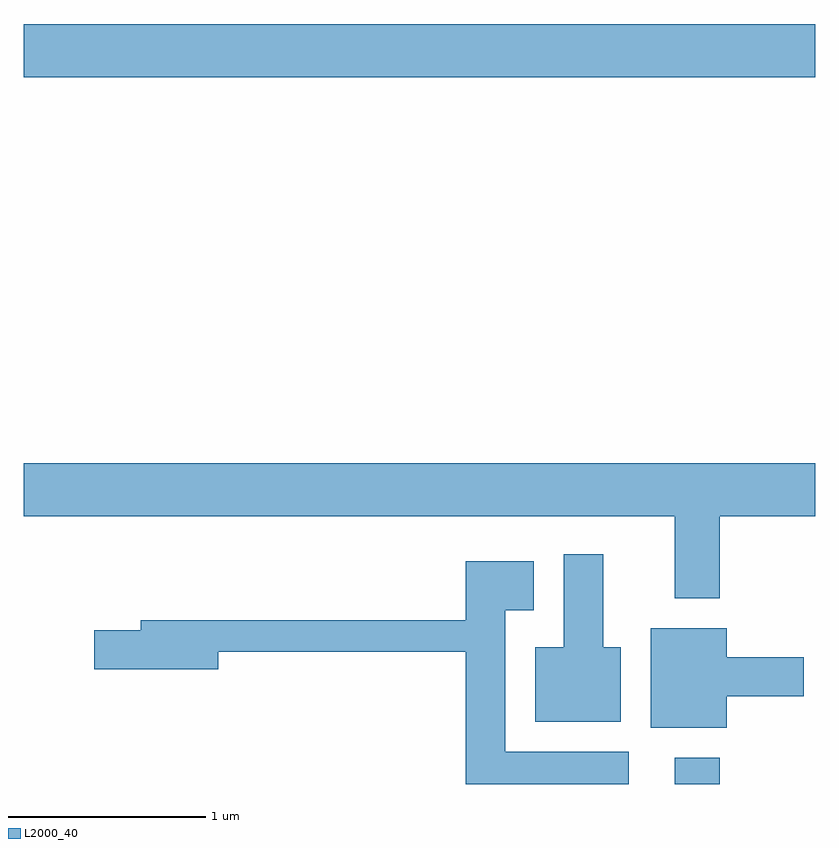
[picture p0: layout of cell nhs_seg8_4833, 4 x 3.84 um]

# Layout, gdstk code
import gdstk
lib = gdstk.Library(unit=1e-6, precision=1e-09)
def R(c, l, rs):  # rectangles x0, y0, x1, y1
    for r in rs: c.add(gdstk.rectangle(r[:2], r[2:], *l))
def P(c, l, *ps):  # polygons
    for p in ps: c.add(gdstk.Polygon(p, *l))
L2000_40 = (2000, 40)

nhs_seg8_4833 = lib.new_cell('nhs_seg8_4833')
R(nhs_seg8_4833, L2000_40, [(332.901,1888.342,333.129,1888.474), (329.611,1891.916,333.611,1892.184)])
P(nhs_seg8_4833, L2000_40, [(333.129,1889.696),(333.611,1889.696),(333.611,1889.964),(329.611,1889.964),(329.611,1889.696),(332.901,1889.696),(332.901,1889.281),(333.129,1889.281)],
  [(332.629,1889.034),(332.539,1889.034),(332.539,1889.504),(332.341,1889.504),(332.341,1889.034),(332.196,1889.034),(332.196,1888.656),(332.629,1888.656)],
  [(332.669,1888.504),(332.044,1888.504),(332.044,1889.221),(332.189,1889.221),(332.189,1889.469),(331.846,1889.469),(331.846,1889.169),(330.201,1889.169),(330.201,1889.119),(329.966,1889.119),(329.966,1888.921),(330.594,1888.921),(330.594,1889.011),(331.846,1889.011),(331.846,1888.342),(332.669,1888.342)],
  [(333.164,1888.786),(333.554,1888.786),(333.554,1888.984),(333.164,1888.984),(333.164,1889.129),(332.781,1889.129),(332.781,1888.626),(333.164,1888.626)])

lib.write_gds('nhs_seg8_4833.gds')
